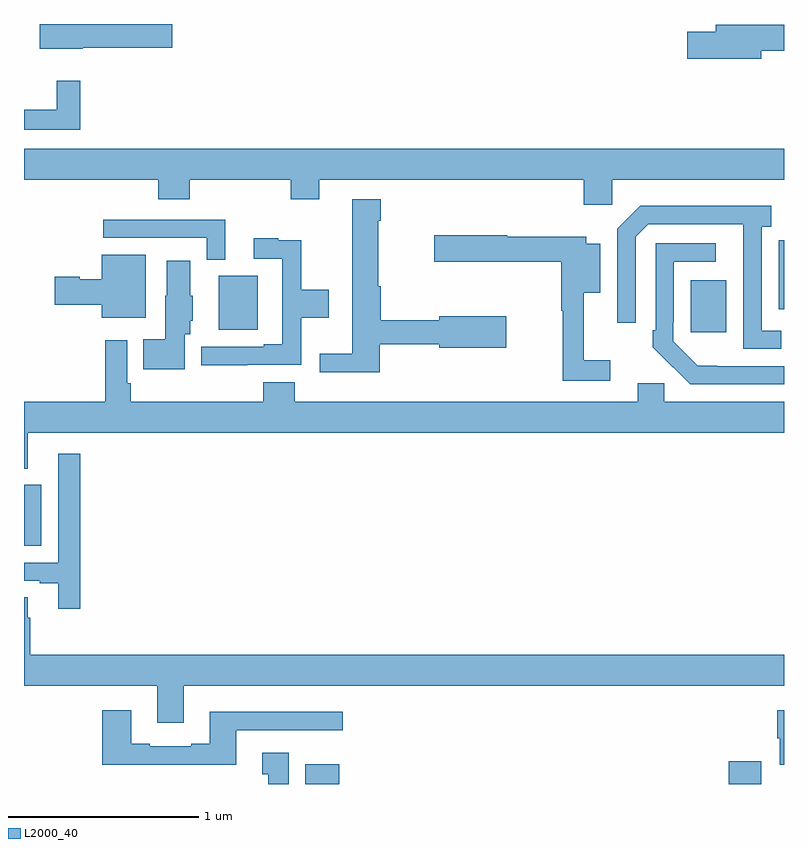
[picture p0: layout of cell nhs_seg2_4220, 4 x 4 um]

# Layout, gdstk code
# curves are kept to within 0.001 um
import gdstk
lib = gdstk.Library(unit=1e-6, precision=1e-09)
def R(c, l, rs):  # rectangles x0, y0, x1, y1
    for r in rs: c.add(gdstk.rectangle(r[:2], r[2:], *l))
def P(c, l, *ps):  # polygons
    for p in ps: c.add(gdstk.Polygon(p, *l))
L2000_40 = (2000, 40)

nhs_seg2_4220 = lib.new_cell('nhs_seg2_4220')
R(nhs_seg2_4220, L2000_40, [(340.481,633.8,340.66,633.904), (342.71,633.8,342.88,633.919), (339,635.054,339.091,635.374), (342.509,636.177,342.697,636.451), (340.025,636.191,340.231,636.475)])
P(nhs_seg2_4220, L2000_40, [(339.309,637.676),(339.781,637.676),(339.781,637.8),(339.083,637.8),(339.083,637.67),(339.309,637.67)],
  [(342.88,637.66),(343,637.66),(343,637.796),(342.641,637.796),(342.641,637.76),(342.492,637.76),(342.492,637.618),(342.88,637.618)],
  [(339.295,637.501),(339.173,637.501),(339.173,637.348),(339,637.348),(339,637.244),(339.295,637.244)],
  [(342.096,636.98),(343,636.98),(343,637.144),(339,637.144),(339,636.98),(339.707,636.98),(339.707,636.878),(339.872,636.878),(339.872,636.98),(340.403,636.98),(340.403,636.878),(340.555,636.878),(340.555,636.98),(341.945,636.98),(341.945,636.849),(342.096,636.849)],
  [(340.872,636.114),(341.186,636.114),(341.186,636.095),(341.539,636.095),(341.539,636.261),(341.186,636.261),(341.186,636.242),(340.877,636.242),(340.877,636.419),(340.864,636.419),(340.864,636.764),(340.877,636.764),(340.877,636.877),(340.727,636.877),(340.727,636.065),(340.557,636.065),(340.557,635.966),(340.872,635.966)],
  [(342.985,636.186),(342.882,636.186),(342.882,636.734),(342.934,636.734),(342.934,636.844),(342.244,636.844),(342.123,636.723),(342.123,636.228),(342.219,636.228),(342.219,636.681),(342.285,636.747),(342.785,636.747),(342.786,636.09),(342.985,636.09)],
  [(340.06,636.771),(339.417,636.771),(339.417,636.675),(339.963,636.675),(339.963,636.56),(340.06,636.56)],
  [(342.085,636.031),(341.945,636.031),(341.945,636.386),(342.034,636.386),(342.034,636.643),(341.958,636.643),(341.958,636.679),(341.544,636.679),(341.544,636.687),(341.16,636.687),(341.16,636.55),(341.827,636.55),(341.827,636.29),(341.835,636.29),(341.835,635.922),(342.085,635.922)],
  [(340.175,636.006),(340.46,636.006),(340.46,636.254),(340.603,636.254),(340.603,636.402),(340.46,636.402),(340.46,636.662),(340.337,636.662),(340.337,636.673),(340.209,636.673),(340.209,636.564),(340.359,636.564),(340.359,636.115),(340.262,636.115),(340.262,636.102),(339.933,636.102),(339.933,636.005),(340.175,636.005)],
  [(343,636.663),(342.973,636.663),(342.973,636.554),(342.972,636.554),(342.972,636.3),(343,636.3)],
  [(343,636),(342.546,636.001),(342.417,636.129),(342.417,636.229),(342.42,636.229),(342.42,636.549),(342.64,636.549),(342.64,636.645),(342.324,636.645),(342.324,636.187),(342.309,636.187),(342.309,636.099),(342.506,635.904),(343,635.904)],
  [(339.64,636.586),(339.41,636.586),(339.41,636.457),(339.294,636.457),(339.294,636.47),(339.162,636.47),(339.162,636.323),(339.41,636.323),(339.41,636.254),(339.64,636.254)],
  [(339.847,636.168),(339.874,636.168),(339.874,636.237),(339.889,636.237),(339.889,636.369),(339.874,636.369),(339.874,636.553),(339.752,636.553),(339.752,636.369),(339.743,636.369),(339.743,636.142),(339.628,636.142),(339.628,635.984),(339.847,635.984)],
  [(339.019,635.648),(343,635.648),(343,635.812),(342.369,635.812),(342.369,635.91),(342.23,635.91),(342.23,635.812),(340.424,635.812),(340.424,635.914),(340.259,635.914),(340.259,635.812),(339.563,635.812),(339.563,635.908),(339.543,635.908),(339.543,636.136),(339.427,636.136),(339.427,635.812),(339,635.812),(339,635.459),(339.019,635.459)],
  [(339.296,635.539),(339.18,635.539),(339.18,634.965),(339,634.965),(339,634.869),(339.083,634.869),(339.083,634.857),(339.179,634.857),(339.179,634.722),(339.296,634.722)],
  [(339.841,634.316),(343,634.316),(343,634.48),(339.032,634.48),(339.032,634.676),(339.019,634.676),(339.019,634.784),(339,634.784),(339,634.316),(339.701,634.316),(339.701,634.122),(339.841,634.122)],
  [(340.117,634.083),(340.678,634.083),(340.678,634.18),(339.977,634.18),(339.977,634.012),(339.881,634.012),(339.881,633.999),(339.661,633.999),(339.661,634.012),(339.565,634.012),(339.565,634.189),(339.413,634.189),(339.413,633.902),(340.117,633.902)],
  [(343,634.189),(342.965,634.189),(342.965,634.041),(342.977,634.041),(342.977,633.902),(343,633.902)],
  [(340.393,633.964),(340.253,633.964),(340.253,633.851),(340.286,633.851),(340.286,633.8),(340.393,633.8)])

lib.write_gds('nhs_seg2_4220.gds')
